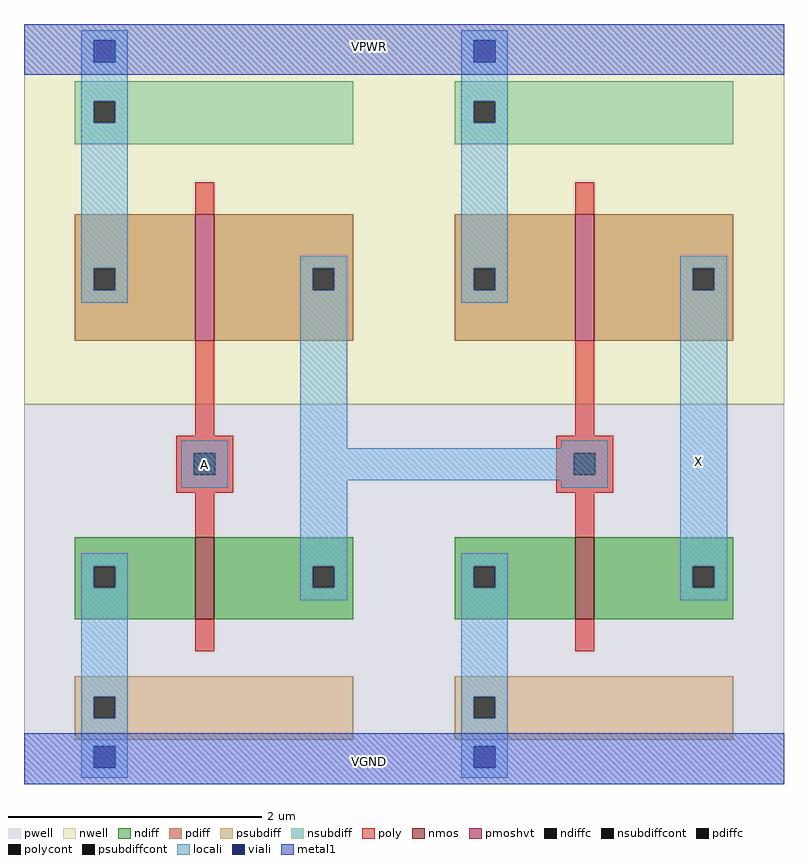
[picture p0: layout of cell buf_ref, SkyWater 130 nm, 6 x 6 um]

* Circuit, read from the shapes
.subckt buf_ref A X VGND VPWR
XM1 inv2/A A VGND VGND sky130_fd_pr__nfet_01v8 w=0.65 l=0.15
XM2 X inv2/A VGND VGND sky130_fd_pr__nfet_01v8 w=0.65 l=0.15
XM3 inv2/A A VPWR VPWR sky130_fd_pr__pfet_01v8_hvt w=1 l=0.15
XM4 X inv2/A VPWR VPWR sky130_fd_pr__pfet_01v8_hvt w=1 l=0.15
.ends

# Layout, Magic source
magic
tech sky130A
<< locali >>
rect 130 240 155 265
rect 218 240 461 265
rect 520 242 545 267
<< metal1 >>
rect 0 560 600 600
rect 0 0 600 40
use my_inv  inv1 ../mag
transform 1 0 0 0 1 0
box 0 0 300 600
use my_inv  inv2
transform 1 0 300 0 1 0
box 0 0 300 600
<< labels >>
rlabel locali 130 240 155 265 0 A
port 1 nsew
rlabel locali 520 242 545 267 0 X
port 2 nsew
rlabel metal1 260 5 285 30 0 VGND
port 3 nsew
rlabel metal1 260 570 285 595 0 VPWR
port 4 nsew
<< end >>

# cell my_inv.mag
magic
tech sky130A
<< nwell >>
rect 0 300 300 600
<< pwell >>
rect 0 0 300 300
<< nmos >>
rect 135 130 150 195
<< pmoshvt >>
rect 135 350 150 450
<< ndiff >>
rect 40 172 135 195
rect 40 155 55 172
rect 72 155 135 172
rect 40 130 135 155
rect 150 172 260 195
rect 150 155 228 172
rect 245 155 260 172
rect 150 130 260 155
<< pdiff >>
rect 40 407 135 450
rect 40 390 55 407
rect 72 390 135 407
rect 40 350 135 390
rect 150 407 260 450
rect 150 390 228 407
rect 245 390 260 407
rect 150 350 260 390
<< ndiffc >>
rect 55 155 72 172
rect 228 155 245 172
<< pdiffc >>
rect 55 390 72 407
rect 228 390 245 407
<< psubdiff >>
rect 40 69 260 85
rect 40 52 55 69
rect 72 52 260 69
rect 40 35 260 52
<< nsubdiff >>
rect 40 539 260 555
rect 40 522 55 539
rect 72 522 260 539
rect 40 505 260 522
<< psubdiffcont >>
rect 55 52 72 69
<< nsubdiffcont >>
rect 55 522 72 539
<< poly >>
rect 135 450 150 475
rect 135 275 150 350
rect 120 261 165 275
rect 120 244 134 261
rect 151 244 165 261
rect 120 230 165 244
rect 135 195 150 230
rect 135 105 150 130
<< polycont >>
rect 134 244 151 261
<< locali >>
rect 45 587 82 595
rect 45 570 55 587
rect 72 570 82 587
rect 45 539 82 570
rect 45 522 55 539
rect 72 522 82 539
rect 45 407 82 522
rect 45 390 55 407
rect 72 390 82 407
rect 45 380 82 390
rect 218 407 255 417
rect 218 390 228 407
rect 245 390 255 407
rect 124 261 161 271
rect 124 244 134 261
rect 151 244 161 261
rect 124 234 161 244
rect 45 172 82 182
rect 45 155 55 172
rect 72 155 82 172
rect 45 69 82 155
rect 218 172 255 390
rect 218 155 228 172
rect 245 155 255 172
rect 218 145 255 155
rect 45 52 55 69
rect 72 52 82 69
rect 45 30 82 52
rect 45 13 55 30
rect 72 13 82 30
rect 45 5 82 13
<< viali >>
rect 55 570 72 587
rect 55 13 72 30
<< metal1 >>
rect 0 587 300 600
rect 0 570 55 587
rect 72 570 300 587
rect 0 560 300 570
rect 0 30 300 40
rect 0 13 55 30
rect 72 13 300 30
rect 0 0 300 13
<< labels >>
rlabel locali 130 240 155 265 0 A
port 1 nsew
rlabel locali 225 260 250 285 0 Y
port 2 nsew
rlabel metal1 120 570 145 595 0 VPWR
port 3 nsew
rlabel metal1 120 5 145 30 0 VGND
port 4 nsew
<< end >>
